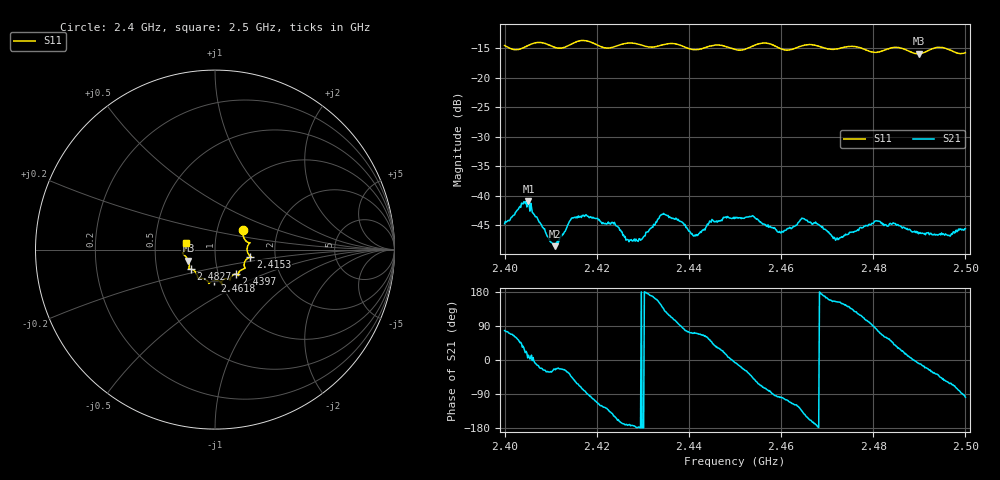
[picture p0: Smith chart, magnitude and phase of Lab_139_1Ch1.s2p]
# Hz S RI R 50
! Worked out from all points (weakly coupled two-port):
!   601 points, 2.4 GHz to 2.5 GHz, reference 50 ohm
!   highest |S21| = -40.92 dB at 2.4052 GHz (marker M1); lowest = -48.5 dB at 2.411 GHz (marker M2)
!   lowest |S11| = -15.9 dB at 2.4898 GHz (marker M3), VSWR 1.38, Z = 36.8 - j4.61 ohm
!   |S11| at or under -10 dB: start of sweep to end of sweep
!   S12 and S22 are empty: the file has one direction only
!   S11 on the Smith chart (normalised r, x): 2.4 GHz: 1.33, +0.29; 2.4153 GHz: 1.48, -0.12; 2.4397 GHz: 1.21, -0.34; 2.4618 GHz: 0.94, -0.33; 2.4827 GHz: 0.75, -0.17; 2.5 GHz: 0.72, +0.06
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2.4e9  0.1551 0.1066  0.00125 0.00568  0 0  0 0
2.405167e9  0.1849 0.0394  0.00878 0.00198  0 0  0 0
2.411e9  0.1803 0.0149  0.00338 -0.00163  0 0  0 0
2.415333e9  0.197 -0.0391  0.00361 -0.00554  0 0  0 0
2.416667e9  0.2029 -0.0433  0.00189 -0.00629  0 0  0 0
2.423667e9  0.1625 -0.0844  -0.00491 -0.00307  0 0  0 0
2.4275e9  0.1682 -0.1041  -0.00423 -0.000543  0 0  0 0
2.43e9  0.1529 -0.1102  -0.00441 -8.54e-05  0 0  0 0
2.433333e9  0.1298 -0.1339  -0.00582 0.00267  0 0  0 0
2.435e9  0.1297 -0.1437  -0.00418 0.00549  0 0  0 0
2.439667e9  0.1166 -0.136  0.00141 0.00508  0 0  0 0
2.4415e9  0.0993 -0.1421  0.00151 0.00433  0 0  0 0
2.444833e9  0.0839 -0.1677  0.0039 0.00454  0 0  0 0
2.45e9  0.0652 -0.1619  0.00655 -0.000826  0 0  0 0
2.461833e9  -0.00295 -0.1728  -0.00193 -0.00505  0 0  0 0
2.466667e9  -0.0347 -0.1883  -0.00551 -0.00177  0 0  0 0
2.472167e9  -0.0718 -0.1609  -0.00394 0.00197  0 0  0 0
2.480667e9  -0.1154 -0.1173  0.000862 0.00609  0 0  0 0
2.482667e9  -0.1352 -0.1088  0.00287 0.00493  0 0  0 0
2.483333e9  -0.1403 -0.1084  0.00319 0.00458  0 0  0 0
2.489833e9  -0.1482 -0.0609  0.00472 -0.000686  0 0  0 0
2.5e9  -0.1591 0.0389  -0.000765 -0.00521  0 0  0 0
